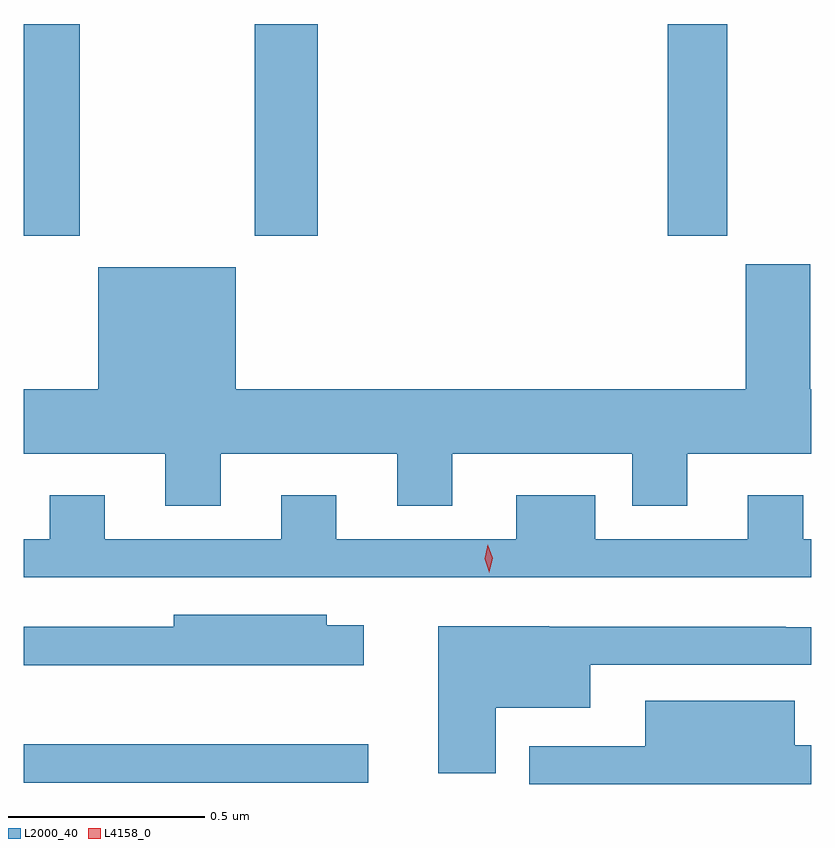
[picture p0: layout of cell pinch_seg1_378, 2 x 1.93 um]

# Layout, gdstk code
import gdstk
lib = gdstk.Library(unit=1e-6, precision=1e-09)
def R(c, l, rs):  # rectangles x0, y0, x1, y1
    for r in rs: c.add(gdstk.rectangle(r[:2], r[2:], *l))
def P(c, l, *ps):  # polygons
    for p in ps: c.add(gdstk.Polygon(p, *l))
L2000_40 = (2000, 40)
L4158_0 = (4158, 0)

pinch_seg1_378 = lib.new_cell('pinch_seg1_378')
R(pinch_seg1_378, L2000_40, [(983.465,530.916,984.34,531.014), (983.465,532.305,983.607,532.843), (984.052,532.305,984.212,532.843), (985.1,532.305,985.252,532.843)])
P(pinch_seg1_378, L2000_40, [(983.965,531.752),(984.413,531.752),(984.413,531.619),(984.553,531.619),(984.553,531.752),(985.01,531.752),(985.01,531.619),(985.15,531.619),(985.15,531.752),(985.465,531.752),(985.465,531.916),(985.462,531.916),(985.462,532.233),(985.298,532.233),(985.298,531.916),(984.004,531.916),(984.004,532.225),(983.654,532.225),(983.654,531.916),(983.465,531.916),(983.465,531.752),(983.825,531.752),(983.825,531.619),(983.965,531.619)],
  [(985.465,531.534),(985.444,531.534),(985.444,531.646),(985.304,531.646),(985.304,531.534),(984.916,531.534),(984.916,531.646),(984.716,531.646),(984.716,531.534),(984.259,531.534),(984.259,531.646),(984.119,531.646),(984.119,531.534),(983.671,531.534),(983.671,531.646),(983.531,531.646),(983.531,531.534),(983.465,531.534),(983.465,531.438),(985.465,531.438)],
  [(984.328,531.316),(984.234,531.316),(984.234,531.343),(983.846,531.343),(983.846,531.312),(983.465,531.312),(983.465,531.215),(984.328,531.215)],
  [(984.664,531.107),(984.904,531.107),(984.904,531.216),(985.465,531.216),(985.465,531.311),(985.4,531.311),(985.4,531.312),(984.8,531.312),(984.8,531.313),(984.518,531.313),(984.518,530.94),(984.664,530.94)],
  [(985.465,531.011),(985.423,531.011),(985.423,531.124),(985.043,531.124),(985.043,531.009),(984.749,531.009),(984.749,530.913),(985.465,530.913)])
P(pinch_seg1_378, L4158_0, [(984.647,531.45),(984.647,531.451),(984.636,531.485),(984.644,531.521),(984.644,531.521),(984.644,531.521),(984.656,531.486),(984.647,531.451)])

lib.write_gds('pinch_seg1_378.gds')
